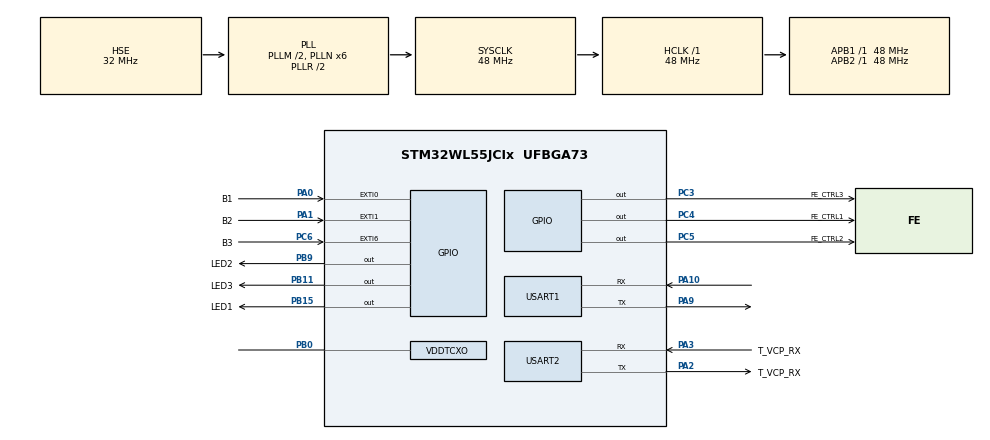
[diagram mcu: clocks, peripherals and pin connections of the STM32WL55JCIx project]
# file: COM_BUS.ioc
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Dma.Request0=USART2_RX
Dma.Request1=USART2_TX
Dma.USART2_RX.0.Channel_PRIV_NPRIV=DMA_CHANNEL_NPRIV_DISABLE
Dma.USART2_RX.0.Direction=DMA_PERIPH_TO_MEMORY
Dma.USART2_RX.0.EventEnable=DISABLE
Dma.USART2_RX.0.Instance=DMA1_Channel1
Dma.USART2_RX.0.MemDataAlignment=DMA_MDATAALIGN_BYTE
Dma.USART2_RX.0.MemInc=DMA_MINC_ENABLE
Dma.USART2_RX.0.Mode=DMA_NORMAL
Dma.USART2_RX.0.PeriphDataAlignment=DMA_PDATAALIGN_BYTE
Dma.USART2_RX.0.PeriphInc=DMA_PINC_DISABLE
Dma.USART2_RX.0.Polarity=HAL_DMAMUX_REQ_GEN_RISING
Dma.USART2_RX.0.Priority=DMA_PRIORITY_LOW
Dma.USART2_RX.0.RequestNumber=1
Dma.USART2_RX.0.SignalID=NONE
Dma.USART2_RX.0.SyncEnable=DISABLE
Dma.USART2_RX.0.SyncPolarity=HAL_DMAMUX_SYNC_NO_EVENT
Dma.USART2_RX.0.SyncRequestNumber=1
Dma.USART2_RX.0.SyncSignalID=NONE
Dma.USART2_TX.1.Channel_PRIV_NPRIV=DMA_CHANNEL_NPRIV_DISABLE
Dma.USART2_TX.1.Direction=DMA_MEMORY_TO_PERIPH
Dma.USART2_TX.1.EventEnable=DISABLE
Dma.USART2_TX.1.Instance=DMA1_Channel2
Dma.USART2_TX.1.MemDataAlignment=DMA_MDATAALIGN_BYTE
Dma.USART2_TX.1.MemInc=DMA_MINC_ENABLE
Dma.USART2_TX.1.Mode=DMA_NORMAL
Dma.USART2_TX.1.PeriphDataAlignment=DMA_PDATAALIGN_BYTE
Dma.USART2_TX.1.PeriphInc=DMA_PINC_DISABLE
Dma.USART2_TX.1.Polarity=HAL_DMAMUX_REQ_GEN_RISING
Dma.USART2_TX.1.Priority=DMA_PRIORITY_LOW
Dma.USART2_TX.1.RequestNumber=1
Dma.USART2_TX.1.SignalID=NONE
Dma.USART2_TX.1.SyncEnable=DISABLE
Dma.USART2_TX.1.SyncPolarity=HAL_DMAMUX_SYNC_NO_EVENT
Dma.USART2_TX.1.SyncRequestNumber=1
Dma.USART2_TX.1.SyncSignalID=NONE
Mcu.Family=STM32WL
Mcu.Name=STM32WL55JCIx
Mcu.Package=UFBGA73
NVIC.DMA1_Channel1_IRQn=true\:0\:0\:false\:false\:true\:false\:true\:true
NVIC.DMA1_Channel2_IRQn=true\:0\:0\:false\:false\:true\:false\:true\:true
NVIC.PriorityGroup=NVIC_PRIORITYGROUP_4
NVIC.SUBGHZ_Radio_IRQn=true\:0\:0\:false\:false\:true\:true\:true\:true
NVIC.TIM1_UP_IRQn=true\:0\:0\:false\:false\:true\:true\:true\:true
NVIC.USART1_IRQn=true\:0\:0\:false\:false\:true\:true\:true\:true
NVIC.USART2_IRQn=true\:0\:0\:false\:false\:true\:true\:true\:true
OSC_IN.Mode=HSE-TCXO
OSC_IN.Signal=RCC_OSC_IN
PA0.GPIO_Label=B1
PA0.GPIO_ModeDefaultEXTI=GPIO_MODE_IT_FALLING
PA0.GPIO_PuPd=GPIO_PULLUP
PA0.Signal=GPXTI0
PA1.GPIO_Label=B2
PA1.GPIO_ModeDefaultEXTI=GPIO_MODE_IT_FALLING
PA1.GPIO_PuPd=GPIO_PULLUP
PA1.Signal=GPXTI1
PA10.Mode=Asynchronous
PA10.Signal=USART1_RX
PA13.Mode=Serial_Wire
PA13.Signal=DEBUG_JTMS-SWDIO
PA14.Mode=Serial_Wire
PA14.Signal=DEBUG_JTCK-SWCLK
PA2.GPIO_Label=T_VCP_RX
PA2.Mode=Asynchronous
PA2.Signal=USART2_TX
PA3.GPIO_Label=T_VCP_RX
PA3.Mode=Asynchronous
PA3.Signal=USART2_RX
PA9.Mode=Asynchronous
PA9.Signal=USART1_TX
PB0-VDD_TCXO.Mode=HSE-TCXO
PB0-VDD_TCXO.Signal=VDDTCXO
PB11.GPIO_Label=LED3
PB11.GPIO_Speed=GPIO_SPEED_FREQ_HIGH
PB11.Signal=GPIO_Output
PB15.GPIO_Label=LED1
PB15.GPIO_Speed=GPIO_SPEED_FREQ_HIGH
PB15.Signal=GPIO_Output
PB9.GPIO_FM9=__NULL
PB9.GPIO_Label=LED2
PB9.GPIO_Speed=GPIO_SPEED_FREQ_HIGH
PB9.Signal=GPIO_Output
PC14-OSC32_IN.Signal=RCC_OSC32_IN
PC15-OSC32_OUT.Signal=RCC_OSC32_OUT
PC3.GPIO_Label=FE_CTRL3
PC3.GPIO_Speed=GPIO_SPEED_FREQ_VERY_HIGH
PC3.Signal=GPIO_Output
PC4.GPIO_Label=FE_CTRL1
PC4.GPIO_Speed=GPIO_SPEED_FREQ_VERY_HIGH
PC4.Signal=GPIO_Output
PC5.GPIO_Label=FE_CTRL2
PC5.GPIO_Speed=GPIO_SPEED_FREQ_VERY_HIGH
PC5.Signal=GPIO_Output
PC6.GPIO_Label=B3
PC6.GPIO_ModeDefaultEXTI=GPIO_MODE_IT_FALLING
PC6.GPIO_PuPd=GPIO_PULLUP
PC6.Signal=GPXTI6
ProjectManager.HeapSize=0x200
ProjectManager.StackSize=0x400
ProjectManager.TargetToolchain=STM32CubeIDE
RCC.AHBFreq_Value=48000000
RCC.APB1Freq_Value=48000000
RCC.APB1TimFreq_Value=48000000
RCC.APB2Freq_Value=48000000
RCC.APB2TimFreq_Value=48000000
RCC.APB3Freq_Value=48000000
RCC.CortexFreq_Value=48000000
RCC.HCLKFreq_Value=48000000
RCC.HSE_VALUE=32000000
RCC.HSI_VALUE=16000000
RCC.LSE_VALUE=32768
RCC.MSIClockRange=RCC_MSIRANGE_11
RCC.PLLM=RCC_PLLM_DIV2
RCC.PLLN=6
RCC.PLLSourceVirtual=RCC_PLLSOURCE_HSE
RCC.SYSCLKFreq_VALUE=48000000
RCC.SYSCLKSource=RCC_SYSCLKSOURCE_PLLCLK
RCC.VCOOutputFreq_Value=96000000
TIM1.Period=1000-1
TIM1.Prescaler=48-1
TIM2.Period=1000001-1
TIM2.Prescaler=48-1
USART1.VirtualMode-Asynchronous=VM_ASYNC
USART2.VirtualMode-Asynchronous=VM_ASYNC
VP_ADV_TRACE_VS_ADV_TRACE.Mode=ADV_TRACE_Enabled
VP_MISC_VS_MISC.Mode=MISC_Enabled
VP_SEQUENCER_M4_VS_SEQUENCER.Mode=SEQUENCER_Enabled
VP_SUBGHZ_PHY_VS_SubGhzPhy.Mode=SubGhzPhy_Enabled
VP_SUBGHZ_VS_SUBGHZ.Mode=SUBGHZ_Activate
VP_TIM1_VS_ClockSourceINT.Mode=Internal
VP_TIM2_VS_ClockSourceINT.Mode=Internal
VP_TIMER_VS_TIMER.Mode=TIMER_Enabled
VP_TINY_LPM_VS_TINY_LPM.Mode=TINY_LPM_Enabled
board=NUCLEO-WL55JC2

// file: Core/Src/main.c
/* USER CODE BEGIN Header */
/**
 ******************************************************************************
 * @file           : main.c
 * @brief          : Main program body
 ******************************************************************************
 * @attention
 *
 * Copyright (c) 2024 STMicroelectronics.
 * All rights reserved.
 *
 * This software is licensed under terms that can be found in the LICENSE file
 * in the root directory of this software component.
 * If no LICENSE file comes with this software, it is provided AS-IS.
 *
 ******************************************************************************
 */
/* USER CODE END Header */
#include "main.h"
#include "dma.h"
#include "app_subghz_phy.h"
#include "tim.h"
#include "usart.h"
#include "gpio.h"

/* USER CODE BEGIN Includes */
#include "obc_interface.h"
#include "radio_driver.h"
#include "com_debug.h"
#include "stdio.h"
#include "ax25_generator.h"
/* USER CODE END Includes */

/* USER CODE BEGIN PTD */
#define PAYLOAD_LENGTH 		(103)
#define OBC_PAYLOAD_LENGTH	(84)
#define GS_CMD_LENGTH		(35)
#define END_MISSION_LENGTH	(6)

#define FREQ_435_MHZ            (435313000) //UP-LINK
#define FREQ_437_MHZ			(437375000)	//DOWN-LINK

#define PA_DUTY_CYCLE           (0x04)
#define HP_MAX                  (0x00)
#define PA_SEL                  (0x01)

#define POWER                   (0x0E)
#define RAMP_TIME               (0x02)

#define DEMO_DEFAULT_BR_1200            1200
#define DEMO_DEFAULT_FDEV_1200          3000

#define DEMO_DEFAULT_BR_4800            4800
#define DEMO_DEFAULT_FDEV_4800          12000

/* USER CODE END PTD */

/* USER CODE BEGIN PD */
PacketParams_t pkt_params;
ModulationParams_t mod_params;
/* USER CODE END PD */

/* USER CODE BEGIN PV */

int OBC_HANDSHAKE_FLAG = 0;
int OBC_SUCCESS_DATA_RX_FLAG = 0;

int DIGIPEATER_STATUS = 0;
int BEACON_COUNT = 2;
int DIGIPEATER_FLAG = 0;

uint8_t obc_plen = OBC_PAYLOAD_LENGTH;
uint8_t p_len = PAYLOAD_LENGTH;
uint8_t gs_cmd_plen = GS_CMD_LENGTH;
uint8_t end_msn_plen = END_MISSION_LENGTH;

uint8_t OBC_UART_RX[OBC_PAYLOAD_LENGTH];
uint8_t tx_cmd[PAYLOAD_LENGTH];
uint8_t rx_cmd[GS_CMD_LENGTH];
uint8_t end_msn[END_MISSION_LENGTH];

uint8_t rssi_value = 0;
int packetLen = 0;

/* USER CODE END PV */

void SystemClock_Config(void);
/* USER CODE BEGIN PFP */
void DioIrqHndlr(RadioIrqMasks_t radioIrq);
void EOM();
/* USER CODE END PFP */

/* USER CODE BEGIN 0 */
void EOM() {
	//add ACK and Latest mission FM address
	end_msn[0] = 0x53;
	end_msn[1] = 0x03;
	end_msn[2] = 0x45;
	end_msn[3] = 0x4F;

	end_msn[4] = 0x4D;

	end_msn[5] = 0x7E;

	BEACON_COUNT = 2;
	OBC_HANDSHAKE_FLAG = 0;
	OBC_SUCCESS_DATA_RX_FLAG = 0;
	DIGIPEATER_STATUS = 0;
	DIGIPEATER_FLAG = 0;

	// END of Mission
	if (HAL_UART_Transmit(&huart2, end_msn, sizeof(end_msn), 2000) == HAL_OK) {
		myDebug("### Sent End of mission to OBC: ");
		for (int i = 0; i < sizeof(end_msn); i++) {
			myDebug("%x", end_msn[i]);
		}
		myDebug("\n");
		myDebug("--> COM Mission_Execution Complete.\r\n");
		memset(end_msn, '\0', sizeof(end_msn));
	}

}
/* USER CODE END 0 */

int main(void) {

	/* MCU Configuration--------------------------------------------------------*/

	/* Reset of all peripherals, Initializes the Flash interface and the Systick. */
	HAL_Init();

	/* Configure the system clock */
	SystemClock_Config();

	/* Initialize all configured peripherals */
	MX_GPIO_Init();
	MX_DMA_Init();
	MX_SubGHz_Phy_Init();
	MX_TIM1_Init();
	MX_TIM2_Init();
	MX_USART1_UART_Init();
	MX_USART2_UART_Init();
	/* USER CODE BEGIN 2 */
	HAL_TIM_Base_Start(&htim2);

	myDebug("########## Slippers2Sat SATELLITE COM: BEGIN ##########\r\n");
	myDebug("########## COMMUNICATION PARAMETERS ##########\r\n");
	myDebug("Modulation: GFSK PACKET\r\n");
	myDebug("FREQUENCY MODES: DOWNLINK FREQ: %luHz and UPLINK FREQ: %lu Hz\r\n",
	FREQ_437_MHZ, FREQ_435_MHZ);
	myDebug("STM32 BSP_SubGHz-WL Radio: Low Power\n");
	myDebug(
			"POWER CONFIG:::- \n"
					"\t PA_DUTY_CYCLE: %x, HP_MAX: %x, PA_SEL: %x, POWER TX: %u dBm\r\n",
			PA_DUTY_CYCLE, HP_MAX, PA_SEL, POWER);

	myDebug("\n########## Operation Starts ##########\r\n");
	myDebug("________________Waiting Handshake Command____________\r\n");

	WAIT_FOR_HANDSHAKE();

	HAL_UART_Receive_DMA(&huart2, OBC_UART_RX, obc_plen);

	/* USER CODE END 2 */

	/* Infinite loop */
	/* USER CODE BEGIN WHILE */
	while (1) {

		delay_us(500000);

		if (OBC_SUCCESS_DATA_RX_FLAG) {
			packetLen = 0;
			packetLen = AX_25PacketFormation(OBC_UART_RX);
			myDebug("\nAX.25 packet_buffer: 0x%x\r\n", tx_cmd);
			myDebug("Tx_Buffer Length: %d\r\n", packetLen);
			for (int i = 0; i < packetLen; i++) {
				myDebug("%02x ", tx_cmd[i]);
			}
			myDebug("\r\n");

			myDebug("Packet Type: %02x \n", tx_cmd[19]);

			memset(OBC_UART_RX, '\0', sizeof(OBC_UART_RX));

			pkt_params.PacketType = PACKET_TYPE_GFSK;
			pkt_params.Params.Gfsk.PayloadLength = PAYLOAD_LENGTH;
			pkt_params.Params.Gfsk.PreambleLength = 8; /*Convert byte into bit*/
			pkt_params.Params.Gfsk.PreambleMinDetect =
					RADIO_PREAMBLE_DETECTOR_08_BITS;
			pkt_params.Params.Gfsk.SyncWordLength = 3 << 3; // convert byte into bit
			pkt_params.Params.Gfsk.AddrComp = RADIO_ADDRESSCOMP_FILT_OFF;
			pkt_params.Params.Gfsk.HeaderType = RADIO_PACKET_FIXED_LENGTH;
			pkt_params.Params.Gfsk.CrcLength = RADIO_CRC_2_BYTES_CCIT;
			pkt_params.Params.Gfsk.DcFree = RADIO_DC_FREEWHITENING;

			mod_params.PacketType = PACKET_TYPE_GFSK;
			mod_params.Params.Gfsk.Bandwidth = RX_BW_29300; /*Not used in TX*/
			mod_params.Params.Gfsk.BitRate = DEMO_DEFAULT_BR_4800;
			mod_params.Params.Gfsk.Fdev = DEMO_DEFAULT_FDEV_4800;
			mod_params.Params.Gfsk.ModulationShaping = MOD_SHAPING_G_BT_1;

			SUBGRF_Init(DioIrqHndlr);
			SUBGRF_SetBufferBaseAddress(0x00, 0x00);
			SUBGRF_SetPayload(tx_cmd, PAYLOAD_LENGTH);
			SUBGRF_SetPacketParams(&pkt_params);
			SUBGRF_SetSyncWord(( uint8_t[] ) { 0xC1, 0x94, 0xC1, 0x00, 0x00,
							0x00, 0x00, 0x00 });
			SUBGRF_SetWhiteningSeed(0x01FF);
			SUBGRF_SetRfFrequency(FREQ_437_MHZ);
			SUBGRF_SetPaConfig(PA_DUTY_CYCLE, HP_MAX, PA_SEL, 0x01);
			//SUBGRF_SetTxParams(RFO_HP, POWER, RAMP_TIME);
			SUBGRF_SetTxParams(RFO_LP, POWER, RAMP_TIME); // Set to RFO_LP for low power
			SUBGRF_SetModulationParams(&mod_params);
			SUBGRF_SetDioIrqParams(
					IRQ_TX_DONE | IRQ_PREAMBLE_DETECTED | IRQ_RX_DONE
							| IRQ_RX_TX_TIMEOUT | IRQ_SYNCWORD_VALID,
					IRQ_TX_DONE | IRQ_PREAMBLE_DETECTED | IRQ_RX_DONE
							| IRQ_RX_TX_TIMEOUT | IRQ_SYNCWORD_VALID,
					IRQ_RADIO_NONE, IRQ_RADIO_NONE);

			myDebug("\n########## TX Configuration: ##########\n");

			myDebug("FREQUENCY MODS: DOWNLINK FREQ: %lu Hz\r\n", FREQ_437_MHZ);
			myDebug("Bit Rate: 	%d\n\r", mod_params.Params.Gfsk.BitRate);
			myDebug("Frequency Deviation: 	%d\n\r",
					mod_params.Params.Gfsk.Fdev);
			myDebug("RECEVING BANDWIDTH: 	%d\n\r",
					mod_params.Params.Gfsk.Bandwidth);
			myDebug("Packet Type 			%d\n\r", pkt_params.PacketType);
			myDebug("PayloadLength 			%d\n\r",
					pkt_params.Params.Gfsk.PayloadLength);
			myDebug("PreambleLength 		%d\n\r",
					pkt_params.Params.Gfsk.PreambleLength);
			myDebug("PreambleMinDetect		%d\n\r",
					pkt_params.Params.Gfsk.PreambleMinDetect);
			myDebug("HeaderType 			%d\n\r", pkt_params.Params.Gfsk.HeaderType);
			myDebug("__________*******************__________\r\n");

			SUBGRF_SetRfFrequency(FREQ_437_MHZ);
			//SUBGRF_SetSwitch(RFO_HP, RFSWITCH_TX); /*Set RF switch*/
			SUBGRF_SetSwitch(RFO_LP, RFSWITCH_TX); /*Set RF switch*/
			SUBGRF_SendPayload(tx_cmd, p_len, 0);
		}

		HAL_UART_Receive_DMA(&huart2, OBC_UART_RX, obc_plen);

		/* USER CODE END WHILE */
		MX_SubGHz_Phy_Process();

	}
}

void SystemClock_Config(void) {
	RCC_OscInitTypeDef RCC_OscInitStruct = { 0 };
	RCC_ClkInitTypeDef RCC_ClkInitStruct = { 0 };

	/** Configure the main internal regulator output voltage
	 */
	__HAL_PWR_VOLTAGESCALING_CONFIG(PWR_REGULATOR_VOLTAGE_SCALE1);

	/** Initializes the CPU, AHB and APB buses clocks
	 */
	RCC_OscInitStruct.OscillatorType = RCC_OSCILLATORTYPE_HSE;
	RCC_OscInitStruct.HSEState = RCC_HSE_BYPASS_PWR;
	RCC_OscInitStruct.HSEDiv = RCC_HSE_DIV1;
	RCC_OscInitStruct.PLL.PLLState = RCC_PLL_ON;
	RCC_OscInitStruct.PLL.PLLSource = RCC_PLLSOURCE_HSE;
	RCC_OscInitStruct.PLL.PLLM = RCC_PLLM_DIV2;
	RCC_OscInitStruct.PLL.PLLN = 6;
	RCC_OscInitStruct.PLL.PLLP = RCC_PLLP_DIV2;
	RCC_OscInitStruct.PLL.PLLR = RCC_PLLR_DIV2;
	RCC_OscInitStruct.PLL.PLLQ = RCC_PLLQ_DIV2;
	if (HAL_RCC_OscConfig(&RCC_OscInitStruct) != HAL_OK) {
		Error_Handler();
	}

	/** Configure the SYSCLKSource, HCLK, PCLK1 and PCLK2 clocks dividers
	 */
	RCC_ClkInitStruct.ClockType = RCC_CLOCKTYPE_HCLK3 | RCC_CLOCKTYPE_HCLK
			| RCC_CLOCKTYPE_SYSCLK | RCC_CLOCKTYPE_PCLK1 | RCC_CLOCKTYPE_PCLK2;
	RCC_ClkInitStruct.SYSCLKSource = RCC_SYSCLKSOURCE_PLLCLK;
	RCC_ClkInitStruct.AHBCLKDivider = RCC_SYSCLK_DIV1;
	RCC_ClkInitStruct.APB1CLKDivider = RCC_HCLK_DIV1;
	RCC_ClkInitStruct.APB2CLKDivider = RCC_HCLK_DIV1;
	RCC_ClkInitStruct.AHBCLK3Divider = RCC_SYSCLK_DIV1;

	if (HAL_RCC_ClockConfig(&RCC_ClkInitStruct, FLASH_LATENCY_2) != HAL_OK) {
		Error_Handler();
	}
}

/* USER CODE BEGIN 4 */
void HAL_UART_RxCpltCallback(UART_HandleTypeDef *huart) {
	if (huart == &huart2) {
		if (OBC_HANDSHAKE_FLAG) {
			if (DIGIPEATER_STATUS == 1 && OBC_SUCCESS_DATA_RX_FLAG == 0) {
				DIGIPEATER_FLAG = 1;
				myDebug("\n--> Digipeater Data Received from OBC: 0x%x\r\n",
						OBC_UART_RX);
				for (int i = 0; i < sizeof(OBC_UART_RX); i++) {
					myDebug("%02x ", OBC_UART_RX[i]);
				}
				myDebug("\r\n");

				packetLen = 0;
				packetLen = AX_25PacketFormation(OBC_UART_RX);
				myDebug("\nAX.25 packet_buffer: 0x%x\r\n", tx_cmd);
				myDebug("Tx_Buffer Length: %d\r\n", packetLen);
				for (int i = 0; i < packetLen; i++) {
					myDebug("%02x ", tx_cmd[i]);
				}
				myDebug("\r\n");

				myDebug("Packet Type: %02x \n", tx_cmd[19]);

				memset(OBC_UART_RX, '\0', sizeof(OBC_UART_RX));

				pkt_params.PacketType = PACKET_TYPE_GFSK;
				pkt_params.Params.Gfsk.PayloadLength = PAYLOAD_LENGTH;
				pkt_params.Params.Gfsk.PreambleLength = 8; /*Convert byte into bit*/
				pkt_params.Params.Gfsk.PreambleMinDetect =
						RADIO_PREAMBLE_DETECTOR_08_BITS;
				pkt_params.Params.Gfsk.SyncWordLength = 3 << 3; // convert byte into bit
				pkt_params.Params.Gfsk.AddrComp = RADIO_ADDRESSCOMP_FILT_OFF;
				pkt_params.Params.Gfsk.HeaderType = RADIO_PACKET_FIXED_LENGTH;
				pkt_params.Params.Gfsk.CrcLength = RADIO_CRC_2_BYTES_CCIT;
				pkt_params.Params.Gfsk.DcFree = RADIO_DC_FREEWHITENING;

				mod_params.PacketType = PACKET_TYPE_GFSK;
				mod_params.Params.Gfsk.Bandwidth = RX_BW_29300; /*Not used in TX*/
				mod_params.Params.Gfsk.BitRate = DEMO_DEFAULT_BR_1200;
				mod_params.Params.Gfsk.Fdev = DEMO_DEFAULT_FDEV_1200;
				mod_params.Params.Gfsk.ModulationShaping = MOD_SHAPING_G_BT_1;

				SUBGRF_Init(DioIrqHndlr);
				SUBGRF_SetBufferBaseAddress(0x00, 0x00);
				SUBGRF_SetPayload(tx_cmd, PAYLOAD_LENGTH);
				SUBGRF_SetPacketParams(&pkt_params);
				SUBGRF_SetSyncWord(( uint8_t[] ) { 0xC1, 0x94, 0xC1, 0x00, 0x00,
								0x00, 0x00, 0x00 });
				SUBGRF_SetWhiteningSeed(0x01FF);
				SUBGRF_SetRfFrequency(FREQ_437_MHZ);
				SUBGRF_SetPaConfig(PA_DUTY_CYCLE, HP_MAX, PA_SEL, 0x01);
				//SUBGRF_SetTxParams(RFO_HP, POWER, RAMP_TIME);
				SUBGRF_SetTxParams(RFO_LP, POWER, RAMP_TIME); // Set to RFO_LP for low power
				SUBGRF_SetModulationParams(&mod_params);
				SUBGRF_SetDioIrqParams(
						IRQ_TX_DONE | IRQ_PREAMBLE_DETECTED | IRQ_RX_DONE
								| IRQ_RX_TX_TIMEOUT | IRQ_SYNCWORD_VALID,
						IRQ_TX_DONE | IRQ_PREAMBLE_DETECTED | IRQ_RX_DONE
								| IRQ_RX_TX_TIMEOUT | IRQ_SYNCWORD_VALID,
						IRQ_RADIO_NONE, IRQ_RADIO_NONE);

				myDebug("\n########## TX Configuration: ##########\n");

				myDebug("FREQUENCY MODS: DOWNLINK FREQ: %lu Hz\r\n",
				FREQ_437_MHZ);
				myDebug("Bit Rate: 	%d\n\r", mod_params.Params.Gfsk.BitRate);
				myDebug("Frequency Deviation: 	%d\n\r",
						mod_params.Params.Gfsk.Fdev);
				myDebug("RECEVING BANDWIDTH: 	%d\n\r",
						mod_params.Params.Gfsk.Bandwidth);
				myDebug("Packet Type 			%d\n\r", pkt_params.PacketType);
				myDebug("PayloadLength 			%d\n\r",
						pkt_params.Params.Gfsk.PayloadLength);
				myDebug("PreambleLength 		%d\n\r",
						pkt_params.Params.Gfsk.PreambleLength);
				myDebug("PreambleMinDetect		%d\n\r",
						pkt_params.Params.Gfsk.PreambleMinDetect);
				myDebug("HeaderType 			%d\n\r",
						pkt_params.Params.Gfsk.HeaderType);
				myDebug("__________*******************__________\r\n");

				SUBGRF_SetRfFrequency(FREQ_437_MHZ);
				//SUBGRF_SetSwitch(RFO_HP, RFSWITCH_TX); /*Set RF switch*/
				SUBGRF_SetSwitch(RFO_LP, RFSWITCH_TX); /*Set RF switch*/
				SUBGRF_SendPayload(tx_cmd, p_len, 0);

			} else {
				myDebug("\n--> Command Received from OBC: 0x%x\r\n",
						OBC_UART_RX);
				for (int i = 0; i < sizeof(OBC_UART_RX); i++) {
					myDebug("%02x ", OBC_UART_RX[i]);
				}
				myDebug("\r\n");
				if (OBC_UART_RX[0] == 0x53 && OBC_UART_RX[83] == 0x7E) {
					myDebug("--> Correct command received from OBC\n");
					OBC_SUCCESS_DATA_RX_FLAG = 1;
					DIGIPEATER_STATUS = 0;
				} else {
					myDebug("*** Incorrect command received from OBC\n");
					if (HAL_UART_Transmit(&huart2, OBC_UART_RX, obc_plen, 2000)
							== HAL_OK) {
						myDebug("*** Incorrect command re-transmit to OBC\n");
						memset(OBC_UART_RX, '\0', sizeof(OBC_UART_RX));
						OBC_SUCCESS_DATA_RX_FLAG = 0;
					}
				}
			}

			HAL_UART_Receive_DMA(&huart2, OBC_UART_RX, obc_plen);
		}
	}
}

void DioIrqHndlr(RadioIrqMasks_t radioIrq) {
	if (radioIrq == IRQ_TX_DONE) {
		OBC_SUCCESS_DATA_RX_FLAG = 0;
		myDebug("\n\rCommand Transmitted Successful:  \r");
		for (int i = 0; i < PAYLOAD_LENGTH; i++) {
			myDebug("%02x ", tx_cmd[i]);
		}
		myDebug("\n\n");

		if (tx_cmd[19] == 0x01 || tx_cmd[19] == 0x02) {
			BEACON_COUNT--;
		}

		if (BEACON_COUNT == 0) {
			OBC_SUCCESS_DATA_RX_FLAG = 0;
			DIGIPEATER_STATUS = 1;
			myDebug("########## Digipeater Mode Configuration: ##########\n");
		}

		delay_us(500000);

		if (DIGIPEATER_FLAG == 1) {
			myDebug("########## End of Mission ##########\r\n");
			myDebug("_____Sending___EOM_____ ##########\r\n");
			EOM();
			myDebug("########## REBOOTING___SYSTEM_____##########\r\n\n\n\n");
			DIGIPEATER_FLAG = 0;
			delay_us(1000000);
		} else {

			memset(tx_cmd, '\0', sizeof(tx_cmd));

			pkt_params.PacketType = PACKET_TYPE_GFSK;
			pkt_params.Params.Gfsk.PayloadLength = GS_CMD_LENGTH;
			pkt_params.Params.Gfsk.PreambleLength = 8; /*Convert byte into bit*/
			pkt_params.Params.Gfsk.PreambleMinDetect =
					RADIO_PREAMBLE_DETECTOR_08_BITS;
			pkt_params.Params.Gfsk.SyncWordLength = 3 << 3; // convert byte into bit
			pkt_params.Params.Gfsk.AddrComp = RADIO_ADDRESSCOMP_FILT_OFF;
			pkt_params.Params.Gfsk.HeaderType = RADIO_PACKET_FIXED_LENGTH;
			pkt_params.Params.Gfsk.CrcLength = RADIO_CRC_2_BYTES_CCIT;
			pkt_params.Params.Gfsk.DcFree = RADIO_DC_FREEWHITENING;

			mod_params.PacketType = PACKET_TYPE_GFSK;
			mod_params.Params.Gfsk.Bandwidth = RX_BW_29300; /*Not used in TX*/
			mod_params.Params.Gfsk.BitRate = DEMO_DEFAULT_BR_1200;
			mod_params.Params.Gfsk.Fdev = DEMO_DEFAULT_FDEV_1200;
			mod_params.Params.Gfsk.ModulationShaping = MOD_SHAPING_G_BT_1;

			SUBGRF_Init(DioIrqHndlr);
			SUBGRF_SetBufferBaseAddress(0x00, 0x00);
			SUBGRF_SetPayload(rx_cmd, GS_CMD_LENGTH);
			SUBGRF_SetPacketParams(&pkt_params);
			SUBGRF_SetSyncWord(( uint8_t[] ) { 0xC1, 0x94, 0xC1, 0x00, 0x00,
							0x00, 0x00, 0x00 });
			SUBGRF_SetWhiteningSeed(0x01FF);
			SUBGRF_SetRfFrequency(FREQ_435_MHZ);
			SUBGRF_SetPaConfig(PA_DUTY_CYCLE, HP_MAX, PA_SEL, 0x01);
			//SUBGRF_SetTxParams(RFO_HP, POWER, RAMP_TIME);
			SUBGRF_SetTxParams(RFO_LP, POWER, RAMP_TIME); // Set to RFO_LP for low power
			SUBGRF_SetModulationParams(&mod_params);
			SUBGRF_SetDioIrqParams(
					IRQ_TX_DONE | IRQ_PREAMBLE_DETECTED | IRQ_RX_DONE
							| IRQ_RX_TX_TIMEOUT | IRQ_SYNCWORD_VALID,
					IRQ_TX_DONE | IRQ_PREAMBLE_DETECTED | IRQ_RX_DONE
							| IRQ_RX_TX_TIMEOUT | IRQ_SYNCWORD_VALID,
					IRQ_RADIO_NONE, IRQ_RADIO_NONE);

			myDebug("########## RX Configuration: ##########\n");

			myDebug("FREQUENCY MODS: UPLINK FREQ: %lu Hz\r\n", FREQ_435_MHZ);
			myDebug("Bit Rate: 	%d\n\r", mod_params.Params.Gfsk.BitRate);
			myDebug("Frequency Deviation: 	%d\n\r",
					mod_params.Params.Gfsk.Fdev);
			myDebug("RECEVING BANDWIDTH: 	%d\n\r",
					mod_params.Params.Gfsk.Bandwidth);
			myDebug("Packet Type 			%d\n\r", pkt_params.PacketType);
			myDebug("PayloadLength 			%d\n\r",
					pkt_params.Params.Gfsk.PayloadLength);
			myDebug("PreambleLength 		%d\n\r",
					pkt_params.Params.Gfsk.PreambleLength);
			myDebug("PreambleMinDetect		%d\n\r",
					pkt_params.Params.Gfsk.PreambleMinDetect);
			myDebug("HeaderType 			%d\n\r", pkt_params.Params.Gfsk.HeaderType);
			myDebug("__________*******************__________\r\n");

			myDebug("\n_____GS Receiver_____OR_____OBC Receiver_____\r\n");

			SUBGRF_SetRfFrequency(FREQ_435_MHZ);
			SUBGRF_SetSwitch(RFO_LP, RFSWITCH_RX); /*Set RF switch*/
			SUBGRF_SetRxBoosted(0xFFFFFF);
		}

		HAL_UART_Receive_DMA(&huart2, OBC_UART_RX, obc_plen);
	}

	if (radioIrq == IRQ_RX_DONE) {
		SUBGRF_GetPayload(rx_cmd, &gs_cmd_plen, GS_CMD_LENGTH);
		rssi_value = SUBGRF_GetRssiInst();
		myDebug("\nGS Command Received: 0x%x\r\n");
		for (int i = 0; i < sizeof(rx_cmd); i++) {
			myDebug("%02x ", rx_cmd[i]);
		}
		myDebug("\r\n");

		myDebug("Sending to OBC \r\n");

		if (HAL_UART_Transmit(&huart2, rx_cmd, sizeof(rx_cmd), 2000)
				== HAL_OK) {
			for (int i = 0; i < sizeof(rx_cmd); i++) {
				myDebug("%02x ", rx_cmd[i]);
			}
			memset(rx_cmd, '\0', sizeof(rx_cmd));

			myDebug("\n_____OBC__RECEIVER_____\r\n");

		}
		HAL_UART_Receive_DMA(&huart2, OBC_UART_RX, obc_plen);
	}
}
/* USER CODE END 4 */

void Error_Handler(void) {
	__disable_irq();
	while (1) {
	}
}
